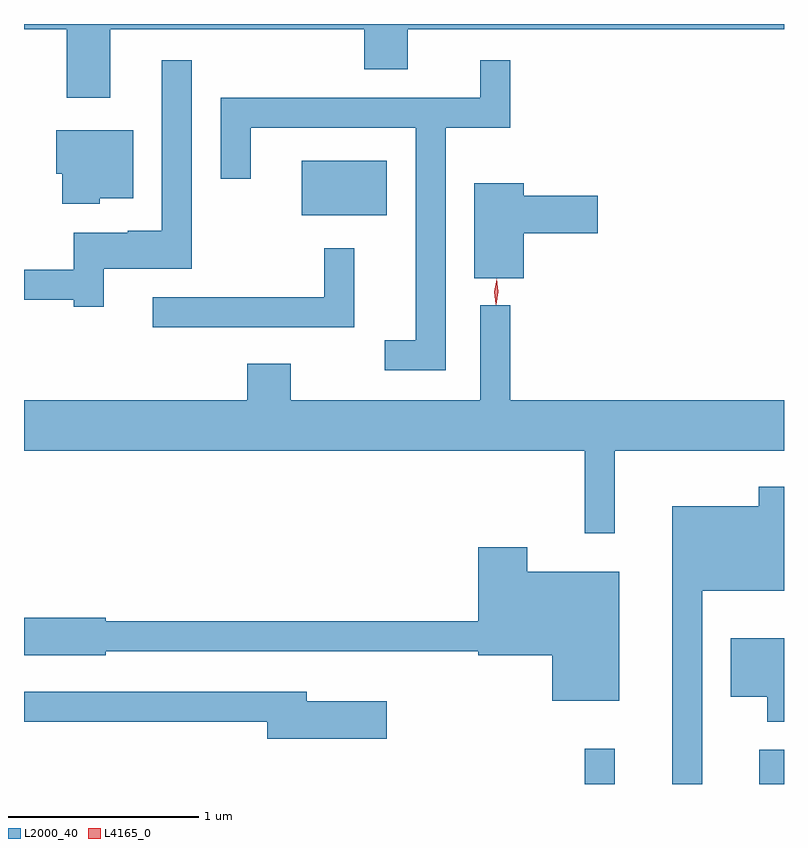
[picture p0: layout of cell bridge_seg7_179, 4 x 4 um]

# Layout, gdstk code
import gdstk
lib = gdstk.Library(unit=1e-6, precision=1e-09)
def R(c, l, rs):  # rectangles x0, y0, x1, y1
    for r in rs: c.add(gdstk.rectangle(r[:2], r[2:], *l))
def P(c, l, *ps):  # polygons
    for p in ps: c.add(gdstk.Polygon(p, *l))
L2000_40 = (2000, 40)
L4165_0 = (4165, 0)

bridge_seg7_179 = lib.new_cell('bridge_seg7_179')
R(bridge_seg7_179, L2000_40, [(1570.396,1685.923,1570.554,1686.108), (1571.316,1685.923,1571.445,1686.103), (1568.906,1688.916,1569.354,1689.204)])
P(bridge_seg7_179, L2000_40, [(1567.899,1689.896),(1569.236,1689.896),(1569.236,1689.686),(1569.464,1689.686),(1569.464,1689.896),(1571.445,1689.896),(1571.445,1689.923),(1567.445,1689.923),(1567.445,1689.896),(1567.671,1689.896),(1567.671,1689.536),(1567.899,1689.536)],
  [(1569.664,1689.376),(1570.004,1689.376),(1570.004,1689.733),(1569.846,1689.733),(1569.846,1689.534),(1568.481,1689.534),(1568.481,1689.108),(1568.639,1689.108),(1568.639,1689.376),(1569.506,1689.376),(1569.506,1688.259),(1569.343,1688.259),(1569.343,1688.101),(1569.664,1688.101)],
  [(1567.864,1688.636),(1568.329,1688.636),(1568.329,1689.733),(1568.171,1689.733),(1568.171,1688.834),(1567.99,1688.834),(1567.99,1688.824),(1567.706,1688.824),(1567.706,1688.629),(1567.445,1688.629),(1567.445,1688.471),(1567.706,1688.471),(1567.706,1688.436),(1567.864,1688.436)],
  [(1567.844,1689.006),(1568.019,1689.006),(1568.019,1689.364),(1567.616,1689.364),(1567.616,1689.136),(1567.646,1689.136),(1567.646,1688.976),(1567.844,1688.976)],
  [(1570.074,1688.821),(1570.464,1688.821),(1570.464,1689.019),(1570.074,1689.019),(1570.074,1689.084),(1569.816,1689.084),(1569.816,1688.586),(1570.074,1688.586)],
  [(1569.184,1688.743),(1569.026,1688.743),(1569.026,1688.484),(1568.123,1688.484),(1568.123,1688.326),(1569.184,1688.326)],
  [(1570.554,1687.676),(1571.445,1687.676),(1571.445,1687.944),(1570.004,1687.944),(1570.004,1688.443),(1569.846,1688.443),(1569.846,1687.944),(1568.849,1687.944),(1568.849,1688.134),(1568.621,1688.134),(1568.621,1687.944),(1567.445,1687.944),(1567.445,1687.676),(1570.396,1687.676),(1570.396,1687.243),(1570.554,1687.243)],
  [(1571.014,1686.941),(1571.445,1686.941),(1571.445,1687.488),(1571.311,1687.488),(1571.311,1687.384),(1570.856,1687.384),(1570.856,1685.923),(1571.014,1685.923)],
  [(1570.579,1687.039),(1570.094,1687.039),(1570.094,1687.169),(1569.836,1687.169),(1569.836,1686.779),(1567.874,1686.779),(1567.874,1686.799),(1567.445,1686.799),(1567.445,1686.601),(1567.874,1686.601),(1567.874,1686.621),(1569.836,1686.621),(1569.836,1686.601),(1570.226,1686.601),(1570.226,1686.361),(1570.579,1686.361)],
  [(1571.445,1686.689),(1571.166,1686.689),(1571.166,1686.381),(1571.356,1686.381),(1571.356,1686.251),(1571.445,1686.251)],
  [(1569.354,1686.359),(1568.934,1686.359),(1568.934,1686.409),(1567.445,1686.409),(1567.445,1686.251),(1568.726,1686.251),(1568.726,1686.161),(1569.354,1686.161)])
P(bridge_seg7_179, L4165_0, [(1569.93,1688.445),(1569.922,1688.514),(1569.933,1688.582),(1569.933,1688.582),(1569.934,1688.582),(1569.942,1688.513),(1569.931,1688.445),(1569.931,1688.445)],
  [(1569.928,1688.448),(1569.928,1688.449),(1569.921,1688.514),(1569.933,1688.579),(1569.934,1688.579),(1569.934,1688.579),(1569.941,1688.513),(1569.929,1688.449)])

lib.write_gds('bridge_seg7_179.gds')
